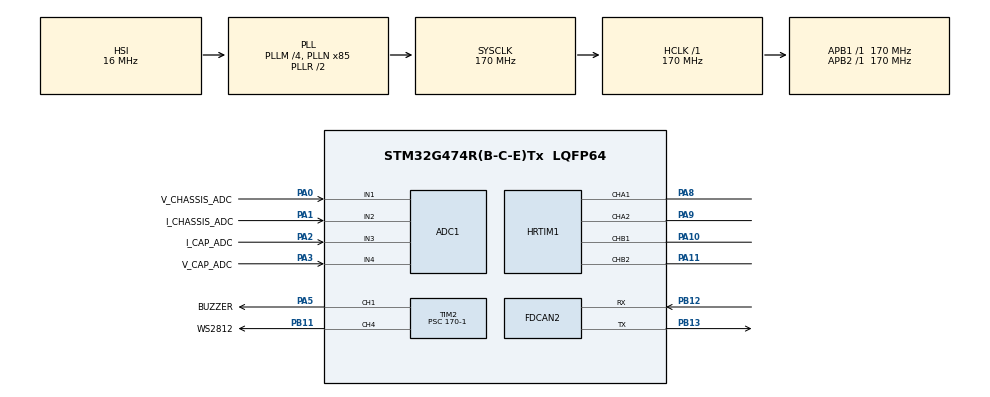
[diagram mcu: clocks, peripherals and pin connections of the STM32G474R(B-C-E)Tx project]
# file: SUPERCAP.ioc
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ADC1.Channel-12\#ChannelRegularConversion=ADC_CHANNEL_1
ADC1.Channel-13\#ChannelRegularConversion=ADC_CHANNEL_2
ADC1.Channel-14\#ChannelRegularConversion=ADC_CHANNEL_3
ADC1.Channel-15\#ChannelRegularConversion=ADC_CHANNEL_4
ADC1.ContinuousConvMode=DISABLE
ADC1.DMAContinuousRequests=ENABLE
ADC1.EOCSelection=ADC_EOC_SEQ_CONV
ADC1.ExternalTrigConv=ADC_EXTERNALTRIG_HRTIM_TRG1
ADC1.NbrOfConversion=4
ADC1.NbrOfConversionFlag=1
ADC1.OffsetNumber-12\#ChannelRegularConversion=ADC_OFFSET_NONE
ADC1.OffsetNumber-13\#ChannelRegularConversion=ADC_OFFSET_NONE
ADC1.OffsetNumber-14\#ChannelRegularConversion=ADC_OFFSET_NONE
ADC1.OffsetNumber-15\#ChannelRegularConversion=ADC_OFFSET_NONE
ADC1.OversamplingMode=DISABLE
ADC1.Rank-12\#ChannelRegularConversion=1
ADC1.Rank-13\#ChannelRegularConversion=2
ADC1.Rank-14\#ChannelRegularConversion=3
ADC1.Rank-15\#ChannelRegularConversion=4
ADC1.SamplingTime-12\#ChannelRegularConversion=ADC_SAMPLETIME_2CYCLES_5
ADC1.SamplingTime-13\#ChannelRegularConversion=ADC_SAMPLETIME_2CYCLES_5
ADC1.SamplingTime-14\#ChannelRegularConversion=ADC_SAMPLETIME_2CYCLES_5
ADC1.SamplingTime-15\#ChannelRegularConversion=ADC_SAMPLETIME_2CYCLES_5
ADC1.master=1
Dma.ADC1.0.Direction=DMA_PERIPH_TO_MEMORY
Dma.ADC1.0.EventEnable=DISABLE
Dma.ADC1.0.Instance=DMA1_Channel1
Dma.ADC1.0.MemDataAlignment=DMA_MDATAALIGN_HALFWORD
Dma.ADC1.0.MemInc=DMA_MINC_ENABLE
Dma.ADC1.0.Mode=DMA_CIRCULAR
Dma.ADC1.0.PeriphDataAlignment=DMA_PDATAALIGN_HALFWORD
Dma.ADC1.0.PeriphInc=DMA_PINC_DISABLE
Dma.ADC1.0.Polarity=HAL_DMAMUX_REQ_GEN_RISING
Dma.ADC1.0.Priority=DMA_PRIORITY_LOW
Dma.ADC1.0.RequestNumber=1
Dma.ADC1.0.SignalID=NONE
Dma.ADC1.0.SyncEnable=DISABLE
Dma.ADC1.0.SyncPolarity=HAL_DMAMUX_SYNC_NO_EVENT
Dma.ADC1.0.SyncRequestNumber=1
Dma.ADC1.0.SyncSignalID=NONE
Dma.Request0=ADC1
FDCAN2.AutoRetransmission=ENABLE
FDCAN2.CalculateBaudRateNominal=1000000
FDCAN2.CalculateTimeBitNominal=1000
FDCAN2.CalculateTimeQuantumNominal=100.0
FDCAN2.DataPrescaler=16
FDCAN2.DataSyncJumpWidth=1
FDCAN2.DataTimeSeg1=8
FDCAN2.DataTimeSeg2=2
FDCAN2.FrameFormat=FDCAN_FRAME_CLASSIC
FDCAN2.Mode=FDCAN_MODE_NORMAL
FDCAN2.NominalPrescaler=17
FDCAN2.NominalSyncJumpWidth=1
FDCAN2.NominalTimeSeg1=4
FDCAN2.NominalTimeSeg2=5
FDCAN2.ProtocolException=ENABLE
FDCAN2.StdFiltersNbr=1
HRTIM1.ADCTrigger1_Source1=HRTIM_ADCTRIGGEREVENT13_MASTER_PERIOD
HRTIM1.ADCTrigger_Id1=HRTIM_ADCTRIGGER_1
HRTIM1.ADCTrigger_Id2=__NULL
HRTIM1.CompareUnit1-MasterTimer=__NULL
HRTIM1.CompareUnit1-Output_TA1TA2=HRTIM_COMPAREUNIT_1
HRTIM1.CompareUnit1-Output_TB1TB2=HRTIM_COMPAREUNIT_1
HRTIM1.CompareUnit2-MasterTimer=__NULL
HRTIM1.CompareUnit2-Output_TB1TB2=__NULL
HRTIM1.CompareUnit3-MasterTimer=__NULL
HRTIM1.CompareUnit3-Output_TA1TA2=HRTIM_COMPAREUNIT_3
HRTIM1.CompareUnit3-Output_TB1TB2=HRTIM_COMPAREUNIT_3
HRTIM1.CompareUnit4-Output_TB1TB2=__NULL
HRTIM1.CompareValue1-Output_TB1TB2=0
HRTIM1.CompareValue3-Output_TB1TB2=0
HRTIM1.DeadTimeInsertion-Output_TA1TA2=HRTIM_TIMDEADTIMEINSERTION_ENABLED
HRTIM1.DeadTimeInsertion-Output_TB1TB2=HRTIM_TIMDEADTIMEINSERTION_ENABLED
HRTIM1.Enable=HRTIM_BURSTMODECTL_DISABLED
HRTIM1.FallingValue-Output_TA1TA2=50
HRTIM1.FallingValue-Output_TB1TB2=50
HRTIM1.InterruptRequests1_Master=HRTIM_MASTER_IT_MREP
HRTIM1.ModeTimeBase-MasterTimer=HRTIM_MODE_CONTINUOUS
HRTIM1.NumberADCTriggerSource1=1
HRTIM1.NumberInterruptRequests_Master-MasterTimer=1
HRTIM1.NumberResetSource1-Output_TA1TA2=1
HRTIM1.NumberResetSource1-Output_TB1TB2=1
HRTIM1.NumberResetTrigger-Output_TA1TA2=1
HRTIM1.NumberResetTrigger-Output_TB1TB2=1
HRTIM1.NumberSetSource1-Output_TA1TA2=1
HRTIM1.NumberSetSource1-Output_TB1TB2=1
HRTIM1.NumberUpdateTrigger-Output_TA1TA2=1
HRTIM1.NumberUpdateTrigger-Output_TB1TB2=1
HRTIM1.ORingUpdateSource_ADCTrigger1=HRTIM_ADCTRIGGERUPDATE_MASTER
HRTIM1.Periode_MASTER=27200
HRTIM1.Periode_TA=27200
HRTIM1.Periode_TB=27200
HRTIM1.PreloadEnable-Output_TA1TA2=HRTIM_PRELOAD_ENABLED
HRTIM1.PreloadEnable-Output_TB1TB2=HRTIM_PRELOAD_ENABLED
HRTIM1.RepetitionCounter-MasterTimer=0
HRTIM1.RepetitionUpdate-MasterTimer=HRTIM_UPDATEONREPETITION_ENABLED
HRTIM1.RepetitionUpdate-Output_TA1TA2=HRTIM_UPDATEONREPETITION_ENABLED
HRTIM1.RepetitionUpdate-Output_TB1TB2=HRTIM_UPDATEONREPETITION_ENABLED
HRTIM1.ResetOutput1_Source1-Output_TA1TA2=HRTIM_OUTPUTRESET_TIMCMP3
HRTIM1.ResetOutput1_Source1-Output_TB1TB2=HRTIM_OUTPUTRESET_TIMCMP3
HRTIM1.ResetTrigger1-Output_TA1TA2=HRTIM_TIMRESETTRIGGER_MASTER_PER
HRTIM1.ResetTrigger1-Output_TB1TB2=HRTIM_TIMRESETTRIGGER_MASTER_PER
HRTIM1.RisingValue-Output_TA1TA2=50
HRTIM1.RisingValue-Output_TB1TB2=50
HRTIM1.SetOutput1_Source1-Output_TA1TA2=HRTIM_OUTPUTSET_TIMCMP1
HRTIM1.SetOutput1_Source1-Output_TB1TB2=HRTIM_OUTPUTSET_TIMCMP1
HRTIM1.SwapA=__NULL
HRTIM1.UpDownMode-Output_TB1TB2=HRTIM_TIMERUPDOWNMODE_UP
HRTIM1.UpdateTrigger1-Output_TA1TA2=HRTIM_TIMUPDATETRIGGER_MASTER
HRTIM1.UpdateTrigger1-Output_TB1TB2=HRTIM_TIMUPDATETRIGGER_MASTER
Mcu.Family=STM32G4
Mcu.Name=STM32G474R(B-C-E)Tx
Mcu.Package=LQFP64
NVIC.ADC1_2_IRQn=true\:2\:0\:true\:false\:true\:true\:true\:true
NVIC.DMA1_Channel1_IRQn=true\:2\:0\:true\:false\:true\:false\:true\:true
NVIC.FDCAN2_IT0_IRQn=true\:1\:0\:true\:false\:true\:true\:true\:true
NVIC.HRTIM1_Master_IRQn=true\:1\:0\:true\:false\:true\:true\:true\:true
NVIC.HRTIM1_TIMB_IRQn=true\:0\:0\:false\:false\:true\:true\:true\:true
NVIC.PriorityGroup=NVIC_PRIORITYGROUP_4
NVIC.TIM1_UP_TIM16_IRQn=true\:0\:0\:false\:false\:true\:true\:true\:true
NVIC.TIM8_UP_IRQn=true\:1\:0\:true\:false\:true\:true\:true\:true
PA0.GPIO_Label=V_CHASSIS_ADC
PA0.Mode=IN1-Single-Ended
PA0.Signal=ADC1_IN1
PA1.GPIO_Label=I_CHASSIS_ADC
PA1.Mode=IN2-Single-Ended
PA1.Signal=ADC1_IN2
PA10.Mode=Output_TB1TB2
PA10.Signal=HRTIM1_CHB1
PA11.Mode=Output_TB1TB2
PA11.Signal=HRTIM1_CHB2
PA13.Mode=Serial_Wire
PA13.Signal=SYS_JTMS-SWDIO
PA14.Mode=Serial_Wire
PA14.Signal=SYS_JTCK-SWCLK
PA2.GPIO_Label=I_CAP_ADC
PA2.Mode=IN3-Single-Ended
PA2.Signal=ADC1_IN3
PA3.GPIO_Label=V_CAP_ADC
PA3.Mode=IN4-Single-Ended
PA3.Signal=ADC1_IN4
PA5.GPIO_Label=BUZZER
PA5.Signal=S_TIM2_CH1
PA8.Mode=Output_TA1TA2
PA8.Signal=HRTIM1_CHA1
PA9.Mode=Output_TA1TA2
PA9.Signal=HRTIM1_CHA2
PB11.GPIO_Label=WS2812
PB11.Signal=S_TIM2_CH4
PB12.GPIO_Speed=GPIO_SPEED_FREQ_HIGH
PB12.Mode=FDCAN_Activate
PB12.Signal=FDCAN2_RX
PB13.GPIO_Speed=GPIO_SPEED_FREQ_HIGH
PB13.Mode=FDCAN_Activate
PB13.Signal=FDCAN2_TX
ProjectManager.HeapSize=0x200
ProjectManager.StackSize=0x800
ProjectManager.TargetToolchain=CMake
RCC.ADC12Freq_Value=170000000
RCC.ADC345Freq_Value=170000000
RCC.AHBFreq_Value=170000000
RCC.APB1Freq_Value=170000000
RCC.APB1TimFreq_Value=170000000
RCC.APB2Freq_Value=170000000
RCC.APB2TimFreq_Value=170000000
RCC.CortexFreq_Value=170000000
RCC.EXTERNAL_CLOCK_VALUE=12288000
RCC.HCLKFreq_Value=170000000
RCC.HSE_VALUE=24000000
RCC.HSI48_VALUE=48000000
RCC.HSI_VALUE=16000000
RCC.LSE_VALUE=32768
RCC.PLLM=RCC_PLLM_DIV4
RCC.PLLN=85
RCC.SYSCLKFreq_VALUE=170000000
RCC.SYSCLKSource=RCC_SYSCLKSOURCE_PLLCLK
RCC.USBFreq_Value=170000000
RCC.VCOOutputFreq_Value=340000000
SH.S_TIM2_CH1.0=TIM2_CH1,PWM Generation1 CH1
SH.S_TIM2_CH4.0=TIM2_CH4,Output Compare4 CH4
TIM16.Channel=TIM_CHANNEL_1
TIM16.PeriodNoDither=1000-1
TIM16.Prescaler=170
TIM2.Channel-Output\ Compare4\ CH4=TIM_CHANNEL_4
TIM2.Channel-PWM\ Generation1\ CH1=TIM_CHANNEL_1
TIM2.OCFastMode_PWM-PWM\ Generation1\ CH1=TIM_OCFAST_ENABLE
TIM2.PeriodNoDither=1000
TIM2.Prescaler=170-1
TIM8.AutoReloadPreload=TIM_AUTORELOAD_PRELOAD_ENABLE
TIM8.Channel-Output\ Compare1\ No\ Output=TIM_CHANNEL_1
TIM8.PeriodNoDither=100
TIM8.Prescaler=16
VP_HRTIM1_VS_hrtimMasterTimerNoOutput.Mode=MasterTimer
VP_SYS_VS_DBSignals.Mode=DisableDeadBatterySignals
VP_TIM16_VS_ClockSourceINT.Mode=Enable_Timer
VP_TIM16_VS_no_output1.Mode=Output Compare1 No Output
VP_TIM2_VS_ClockSourceINT.Mode=Internal
VP_TIM8_VS_ClockSourceINT.Mode=Internal
VP_TIM8_VS_no_output1.Mode=Output Compare1 No Output
board=custom

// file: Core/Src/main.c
/* USER CODE BEGIN Header */
/**
 ******************************************************************************
 * @file           : main.c
 * @brief          : Main program body
 ******************************************************************************
 * @attention
 *
 * Copyright (c) 2025 STMicroelectronics.
 * All rights reserved.
 *
 * This software is licensed under terms that can be found in the LICENSE file
 * in the root directory of this software component.
 * If no LICENSE file comes with this software, it is provided AS-IS.
 *
 ******************************************************************************
 */
/* USER CODE END Header */
#include "main.h"

#include "adc.h"
#include "dma.h"
#include "fdcan.h"
#include "gpio.h"
#include "hrtim.h"
#include "tim.h"

/* USER CODE BEGIN Includes */
#include "ADC_Calibration.h"
#include "CAN_communicate.h"
#include "Data_collect.h"
#include "HAL_callback.h"
#include "MOS_driver.h"
#include "PID_controller.h"
#include "SuperCap_init.h"
#include "const_data.h"
#include "module_data.h"

/* USER CODE END Includes */

void SystemClock_Config(void);

int main(void) {

    /* MCU
     * Configuration--------------------------------------------------------*/

    /* Reset of all peripherals, Initializes the Flash interface and the
     * Systick. */
    HAL_Init();

    /* Configure the system clock */
    SystemClock_Config();

    /* Initialize all configured peripherals */
    MX_GPIO_Init();
    MX_DMA_Init();
    MX_ADC1_Init();
    MX_FDCAN2_Init();
    MX_HRTIM1_Init();
    MX_TIM16_Init();
    MX_TIM8_Init();
    MX_TIM2_Init();
    /* USER CODE BEGIN 2 */
    HAL_Delay(3000);  // 延时3秒缓启动上电，适配新电池
    SuperCap_init();
    SuperCap_softstart();
    HAL_TIM_Base_Start_IT(&htim16);
    HAL_Delay(2);
    HAL_TIM_Base_Start_IT(&htim8);
    HAL_Delay(2);
    MosDriver_OUTPUT_init();
    /* USER CODE END 2 */

    /* Infinite loop */
    while (1) {

    }
}

void SystemClock_Config(void) {
    RCC_OscInitTypeDef RCC_OscInitStruct = {0};
    RCC_ClkInitTypeDef RCC_ClkInitStruct = {0};

    /** Configure the main internal regulator output voltage
     */
    HAL_PWREx_ControlVoltageScaling(PWR_REGULATOR_VOLTAGE_SCALE1_BOOST);

    /** Initializes the RCC Oscillators according to the specified parameters
     * in the RCC_OscInitTypeDef structure.
     */
    RCC_OscInitStruct.OscillatorType = RCC_OSCILLATORTYPE_HSI;
    RCC_OscInitStruct.HSIState = RCC_HSI_ON;
    RCC_OscInitStruct.HSICalibrationValue = RCC_HSICALIBRATION_DEFAULT;
    RCC_OscInitStruct.PLL.PLLState = RCC_PLL_ON;
    RCC_OscInitStruct.PLL.PLLSource = RCC_PLLSOURCE_HSI;
    RCC_OscInitStruct.PLL.PLLM = RCC_PLLM_DIV4;
    RCC_OscInitStruct.PLL.PLLN = 85;
    RCC_OscInitStruct.PLL.PLLP = RCC_PLLP_DIV2;
    RCC_OscInitStruct.PLL.PLLQ = RCC_PLLQ_DIV2;
    RCC_OscInitStruct.PLL.PLLR = RCC_PLLR_DIV2;
    if (HAL_RCC_OscConfig(&RCC_OscInitStruct) != HAL_OK) {
        Error_Handler();
    }

    /** Initializes the CPU, AHB and APB buses clocks
     */
    RCC_ClkInitStruct.ClockType = RCC_CLOCKTYPE_HCLK | RCC_CLOCKTYPE_SYSCLK |
                                  RCC_CLOCKTYPE_PCLK1 | RCC_CLOCKTYPE_PCLK2;
    RCC_ClkInitStruct.SYSCLKSource = RCC_SYSCLKSOURCE_PLLCLK;
    RCC_ClkInitStruct.AHBCLKDivider = RCC_SYSCLK_DIV1;
    RCC_ClkInitStruct.APB1CLKDivider = RCC_HCLK_DIV1;
    RCC_ClkInitStruct.APB2CLKDivider = RCC_HCLK_DIV1;

    if (HAL_RCC_ClockConfig(&RCC_ClkInitStruct, FLASH_LATENCY_4) != HAL_OK) {
        Error_Handler();
    }
}

void Error_Handler(void) {
    /* USER CODE BEGIN Error_Handler_Debug */
    /* User can add his own implementation to report the HAL error return state
     */
    __disable_irq();
    while (1) {
    }
    /* USER CODE END Error_Handler_Debug */
}
#ifdef USE_FULL_ASSERT
/**
 * @brief  Reports the name of the source file and the source line number
 *         where the assert_param error has occurred.
 * @param  file: pointer to the source file name
 * @param  line: assert_param error line source number
 * @retval None
 */
void assert_failed(uint8_t* file, uint32_t line) {
    /* USER CODE BEGIN 6 */
    /* User can add his own implementation to report the file name and line
       number, ex: printf("Wrong parameters value: file %s on line %d\r\n",
       file, line) */
    /* USER CODE END 6 */
}
#endif /* USE_FULL_ASSERT */
